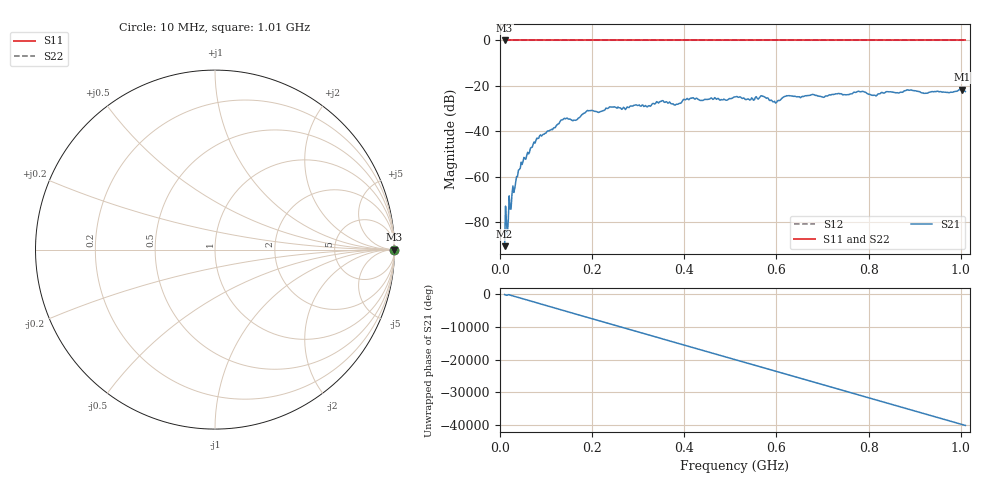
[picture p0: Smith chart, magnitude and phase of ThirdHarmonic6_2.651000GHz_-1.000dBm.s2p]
! 8/17/2025 6:03:10 AM
! C:\ANRITSUVNA\TEMP\TEMP.S2P
! CHANNEL.1
! TR.MEASUREMENT
! RAW.DATA
! RF.CORRECTION.OFF
! AVERAGING.OFF
! IF.BANDWIDTH: 5KHZ
! SWEEPTYPE:  FREQ.SWEEP(Linear)
! Reference Plane Port Info
! PORT:  PORT1  PORT2
! DISTANCE:  0  m  0  m
! TIME:  0  s  0  s
! PHASE.OFFSET:  0  deg.  0  deg.
! LOSS:  0  dB  0  dB
! REF.LOSS:  0  dB  0  dB
! REF.FREQ:  0  Hz  0  Hz
! Power Info
! POWER:  -20  dBm  -20  dBm
! EFF.POWER:  -20  dBm  -20  dBm
! SOURCE.ATTEN:  0  dB  0  dB
! TEST.ATTEN:  0  dB  0  dB
# GHZ S RI R 50.0
! FREQ.GHZ  S11RE  S11IM  S21RE  S21IM  S12RE  S12IM  S22RE  S22IM
!; PortSelection: Port_12
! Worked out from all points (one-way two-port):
!   501 points, 10 MHz to 1.01 GHz, reference 50 ohm
!   highest |S21| = -21.61 dB at 1.002 GHz (marker M1); lowest = -90.6 dB at 10 MHz (marker M2)
!   lowest |S11| = 0.0 dB at 10 MHz (marker M3)
!   |S11| at or under -10 dB: nowhere
!   |S22| runs from 0.0 to 0.0 dB; largest |S21 - S12| = 1.1
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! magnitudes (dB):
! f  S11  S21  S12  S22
! 10 MHz  0.0  -90.6  0.0  0.0
! 20 MHz  0.0  -68.5  0.0  0.0
! 24 MHz  0.0  -74.3  0.0  0.0
! 44 MHz  0.0  -56.2  0.0  0.0
! 76 MHz  0.0  -45.2  0.0  0.0
! 136 MHz  0.0  -34.9  0.0  0.0
! 162 MHz  0.0  -35.1  0.0  0.0
! 178 MHz  0.0  -32.6  0.0  0.0
! 192 MHz  0.0  -31.0  0.0  0.0
! 344 MHz  0.0  -27.6  0.0  0.0
! 382 MHz  0.0  -28.2  0.0  0.0
! 416 MHz  0.0  -25.5  0.0  0.0
! 510 MHz  0.0  -24.9  0.0  0.0
! 570 MHz  0.0  -24.6  0.0  0.0
! 596 MHz  0.0  -26.8  0.0  0.0
! 622 MHz  0.0  -24.3  0.0  0.0
! 678 MHz  0.0  -23.8  0.0  0.0
! 782 MHz  0.0  -22.6  0.0  0.0
! 814 MHz  0.0  -24.2  0.0  0.0
! 844 MHz  0.0  -22.6  0.0  0.0
! 1.002 GHz  0.0  -21.6  0.0  0.0
! 1.01 GHz  0.0  -22.5  0.0  0.0
